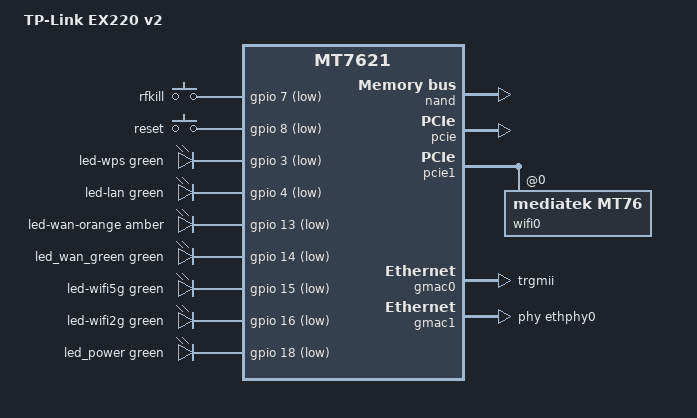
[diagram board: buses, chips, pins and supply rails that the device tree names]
// SPDX-License-Identifier: GPL-2.0-or-later OR MIT

#include "mt7621.dtsi"

#include <dt-bindings/gpio/gpio.h>
#include <dt-bindings/input/input.h>
#include <dt-bindings/leds/common.h>

/ {
	compatible = "tplink,ex220-v2", "mediatek,mt7621-soc";
	model = "TP-Link EX220 v2";

	aliases {
		led-boot = &led_power;
		led-failsafe = &led_power;
	        led-running = &led_power;
		led-upgrade = &led_power;
	        label-mac-device = &gmac0;
	};

	chosen {
		bootargs = "console=ttyS0,115200";
	};

	keys {
		compatible = "gpio-keys";

		button-wps {
			label = "rfkill";
			gpios = <&gpio 7 GPIO_ACTIVE_LOW>;
			linux,code = <KEY_RFKILL>;
		};

		button-reset {
			label = "reset";
			gpios = <&gpio 8 GPIO_ACTIVE_LOW>;
			linux,code = <KEY_RESTART>;
		};
	};

	leds {
		compatible = "gpio-leds";

		led-wps {
			color = <LED_COLOR_ID_GREEN>;
			function = LED_FUNCTION_WPS;
			gpios = <&gpio 3 GPIO_ACTIVE_LOW>;
		};

		led-lan {
			color = <LED_COLOR_ID_GREEN>;
			function = LED_FUNCTION_LAN;
			gpios = <&gpio 4 GPIO_ACTIVE_LOW>;
		};

		led-wan-orange {
			color = <LED_COLOR_ID_AMBER>;
			function = LED_FUNCTION_WAN;
			gpios = <&gpio 13 GPIO_ACTIVE_LOW>;
		};

		led_wan_green: led-wan-green {
			color = <LED_COLOR_ID_GREEN>;
			function = LED_FUNCTION_WAN_ONLINE;
			gpios = <&gpio 14 GPIO_ACTIVE_LOW>;
		};

		led-wifi5g {
			color = <LED_COLOR_ID_GREEN>;
			function = LED_FUNCTION_WLAN;
			function-enumerator = <5>;
			gpios = <&gpio 15 GPIO_ACTIVE_LOW>;
			linux,default-trigger = "phy1tpt";
		};

		led-wifi2g {
			color = <LED_COLOR_ID_GREEN>;
			function = LED_FUNCTION_WLAN;
			function-enumerator = <2>;
			gpios = <&gpio 16 GPIO_ACTIVE_LOW>;
			linux,default-trigger = "phy0tpt";
		};

		led_power: led-power {
			color = <LED_COLOR_ID_GREEN>;
			function = LED_FUNCTION_POWER;
			gpios = <&gpio 18 GPIO_ACTIVE_LOW>;
		};
	};
};

&nand {
	status = "okay";
	mediatek,nmbm;

    partitions {
        compatible = "fixed-partitions";
        #address-cells = <1>;
        #size-cells = <1>;
	nand-ecc-mode = "hw";
        partition@0 {
            label = "u-boot";
            reg = <0x00000000 0x00080000>;
            read-only;
        };

        partition@80000 {
            label = "u-boot-env";
            reg = <0x00080000 0x00080000>;
        };

        partition@100000 {
            label = "misc_ro";
            reg = <0x00100000 0x00600000>;
            read-only;

	    nvmem-layout {
	        compatible = "fixed-layout";
	        #address-cells = <1>;
		#size-cells = <1>;

		macaddr_1: macaddr@5c30bc {
			compatible = "mac-base";
			reg = <0x5c30bc 0x6>;
			#nvmem-cell-cells = <1>;
		};
	    };
        };

        partition@700000 {
            label = "misc_rw";
            reg = <0x00700000 0x00600000>;
        };

	partition@d00000 {
	    label = "firmware";
	    reg = <0x00d00000 0x02c00000>;
	
	    compatible = "fixed-partitions";
	    #address-cells = <1>;
	    #size-cells = <1>;
	
	    partition@0 {
	        label = "kernel";
	        reg = <0x0 0x360000>;
	    };
	
	    partition@400000 {
	        label = "ubi";
	        reg = <0x360000 0x2700000>;
	    };
	};

        partition@3900000 {
            label = "bflag";
            reg = <0x03900000 0x00600000>;
            read-only;
        };

        partition@3f00000 {
            label = "misc_rw_bak";
            reg = <0x03f00000 0x00600000>;
        };

        partition@4500000 {
            label = "misc_isp";
            reg = <0x04500000 0x00600000>;
            read-only;
        };

        partition@0whole {
            label = "whole";
            reg = <0x00000000 0x08000000>;
        };
    };
};

&pcie {
	status = "okay";
};

&pcie1 {
	wifi0: wifi@0,0 {
		compatible = "mediatek,mt76";
		reg = <0x0000 0 0 0 0>;
		nvmem-cells = <&macaddr_1 0>;
		nvmem-cell-names = "mac-address";
		mediatek,disable-radar-background;
	};
};

&ethernet {
	pinctrl-0 = <&mdio_pins>, <&rgmii1_pins>, <&rgmii2_pins>;
};

&gmac0 {
	phy-mode = "trgmii";
	nvmem-cells = <&macaddr_1 0>;
	nvmem-cell-names = "mac-address";
};

&gmac1 {
        status = "okay";
	label = "wan";
        phy-handle = <&ethphy0>;

	nvmem-cells = <&macaddr_1 0>;
	nvmem-cell-names = "mac-address";
};

&switch0 {
	ports {
		port@0 {
			status = "okay";
			label = "lan1";
		};

		port@1 {
			status = "okay";
			label = "lan2";
		};

		port@2 {
			status = "okay";
			label = "lan3";
		};

		port@3 {
			status = "okay";
			label = "lan4";
		};

		port@4 {
			status = "okay";
			label = "wan";
		};

		port@6 {
			status = "okay";
			label = "lan6";
		};
	};
};

&state_default {
	gpio {
		groups = "i2c", "uart3", "jtag", "wdt";
		function = "gpio";
	};
};

&gdma {
	status = "okay";
};

&hsdma {
	status = "okay";
};
